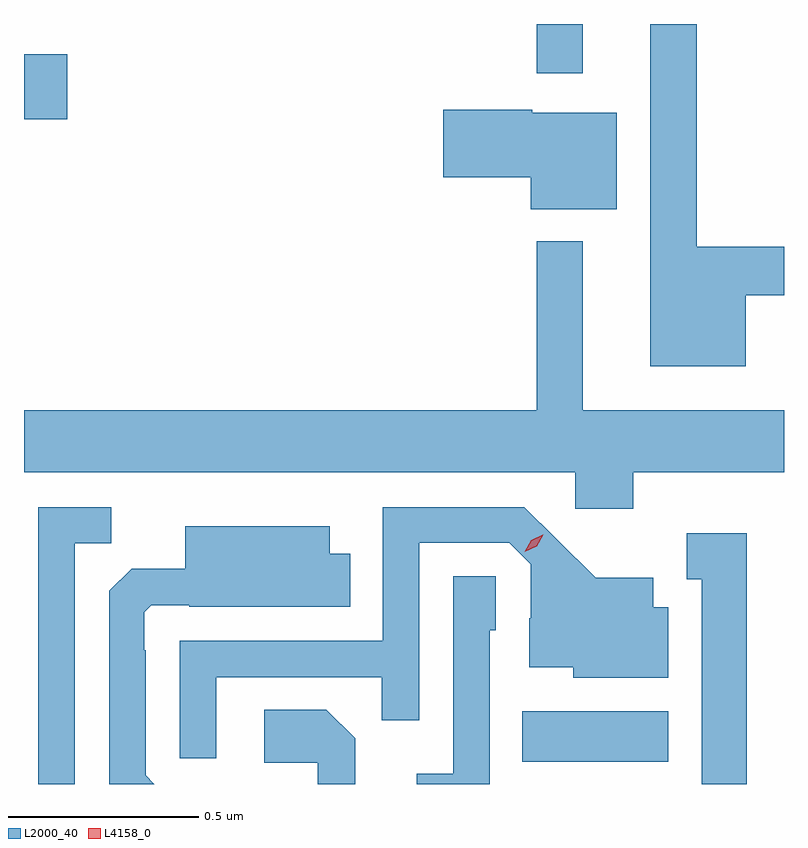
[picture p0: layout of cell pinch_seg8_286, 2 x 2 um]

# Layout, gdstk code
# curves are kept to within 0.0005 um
import gdstk
lib = gdstk.Library(unit=1e-6, precision=1e-09)
def R(c, l, rs):  # rectangles x0, y0, x1, y1
    for r in rs: c.add(gdstk.rectangle(r[:2], r[2:], *l))
def P(c, l, *ps):  # polygons
    for p in ps: c.add(gdstk.Polygon(p, *l))
L2000_40 = (2000, 40)
L4158_0 = (4158, 0)

pinch_seg8_286 = lib.new_cell('pinch_seg8_286')
R(pinch_seg8_286, L2000_40, [(529.42,1139.714,529.804,1139.848), (528.109,1141.406,528.223,1141.576), (529.458,1141.527,529.579,1141.656)])
P(pinch_seg8_286, L2000_40, [(530.008,1140.942),(530.109,1140.942),(530.109,1141.07),(529.879,1141.07),(529.879,1141.656),(529.757,1141.656),(529.757,1140.755),(530.008,1140.755)],
  [(529.669,1141.423),(529.446,1141.423),(529.446,1141.431),(529.212,1141.431),(529.212,1141.253),(529.442,1141.253),(529.442,1141.169),(529.669,1141.169)],
  [(529.712,1140.476),(530.109,1140.476),(530.109,1140.64),(529.579,1140.64),(529.579,1141.084),(529.458,1141.084),(529.458,1140.64),(528.109,1140.64),(528.109,1140.476),(529.56,1140.476),(529.56,1140.381),(529.712,1140.381)],
  [(528.615,1139.937),(529.051,1139.937),(529.051,1139.824),(529.149,1139.824),(529.149,1140.291),(529.386,1140.291),(529.443,1140.234),(529.443,1140.092),(529.439,1140.092),(529.439,1139.963),(529.554,1139.963),(529.554,1139.936),(529.804,1139.936),(529.804,1140.121),(529.765,1140.121),(529.765,1140.199),(529.613,1140.199),(529.426,1140.384),(529.053,1140.384),(529.053,1140.033),(528.519,1140.033),(528.519,1139.724),(528.615,1139.724)],
  [(528.243,1140.289),(528.339,1140.289),(528.339,1140.384),(528.147,1140.384),(528.147,1139.656),(528.243,1139.656)],
  [(528.429,1139.679),(528.429,1140.008),(528.426,1140.008),(528.426,1140.108),(528.444,1140.126),(528.544,1140.126),(528.544,1140.122),(528.968,1140.122),(528.968,1140.262),(528.913,1140.262),(528.913,1140.334),(528.533,1140.334),(528.533,1140.223),(528.392,1140.223),(528.333,1140.164),(528.333,1139.656),(528.452,1139.656)],
  [(530.011,1140.316),(529.853,1140.316),(529.853,1140.195),(529.892,1140.195),(529.892,1139.656),(530.011,1139.656)],
  [(529.335,1140.06),(529.35,1140.06),(529.35,1140.203),(529.239,1140.203),(529.239,1139.683),(529.143,1139.683),(529.143,1139.656),(529.335,1139.656)],
  [(528.981,1139.776),(528.905,1139.852),(528.741,1139.852),(528.741,1139.712),(528.882,1139.712),(528.882,1139.656),(528.981,1139.656)])
P(pinch_seg8_286, L4158_0, [(529.427,1140.267),(529.427,1140.267),(529.444,1140.297),(529.474,1140.312),(529.475,1140.312),(529.475,1140.312),(529.458,1140.282),(529.427,1140.267)])

lib.write_gds('pinch_seg8_286.gds')
